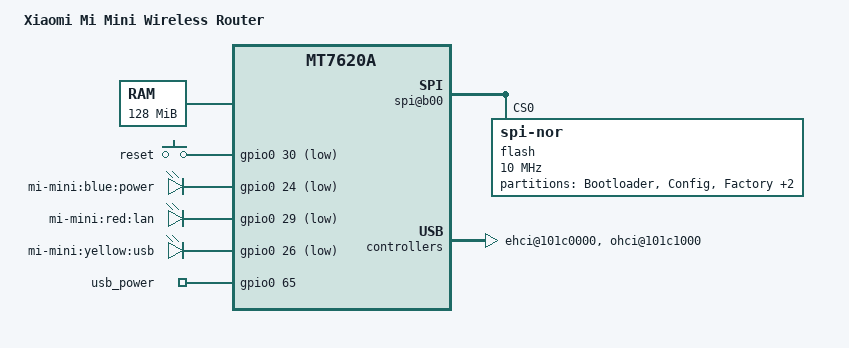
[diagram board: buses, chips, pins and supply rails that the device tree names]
/dts-v1/;

/include/ "mt7620a.dtsi"

/ {
	compatible = "xiaomi,mi-mini", "ralink,mtk7620a-soc";
	model = "Xiaomi Mi Mini Wireless Router";

	memory@0 {
		device_type = "memory";
		reg = <0x0 0x8000000>;
	};

	chosen {
		bootargs = "console=ttyS0,57600";
	};

	palmbus@10000000 {
		spi@b00 {
			status = "okay";

			flash@0 {
				compatible = "jedec,spi-nor";
				reg = <0>;
				spi-max-frequency = <10000000>;

				#address-cells = <1>;
				#size-cells = <1>;

				partition@0 {
					label = "Bootloader";
					reg = <0x0 0x40000>;
					read-only;
				};

				partition@40000 {
					label = "Config";
					reg = <0x40000 0x10000>;
				};

				partition@50000 {
					label = "Factory";
					reg = <0x50000 0x10000>;
					read-only;
				};

				partition@60000 {
					label = "Storage";
					reg = <0x60000 0x40000>;
				};

				partition@a0000 {
					label = "firmware";
					reg = <0xa0000 0xf60000>;
				};
			};
		};
	};

	ehci@101c0000 {
		status = "okay";
	};

	ohci@101c1000 {
		status = "okay";
	};

	gpio-keys-polled {
		compatible = "gpio-keys-polled";
		#address-cells = <1>;
		#size-cells = <0>;
		poll-interval = <20>;

		reset {
			label = "reset";
			gpios = <&gpio0 30 1>;
			linux,code = <0x198>;
		};
	};

	gpio-leds {
		compatible = "gpio-leds";

		power {
			label = "mi-mini:blue:power";
			gpios = <&gpio0 24 1>;
			default-state = "on";
		};

		lan {
			label = "mi-mini:red:lan";
			gpios = <&gpio0 29 1>;
			default-state = "off";
		};

		usb {
			label = "mi-mini:yellow:usb";
			gpios = <&gpio0 26 1>;
			default-state = "off";
		};
	};

	gpio_export {
		compatible = "gpio-export";
		#address-cells = <1>;
		#size-cells = <0>;

		usb_power {
			gpio-export,name = "usb_power";
			gpio-export,output = <1>;
			gpios = <&gpio0 65 0>;
		};
	};

	raeth@10100000 {
		status = "okay";
		gmac1_txq_num = <1>;
		gmac1_txq_txd_num = <512>;
		num_rx_desc = <512>;
	};
};
